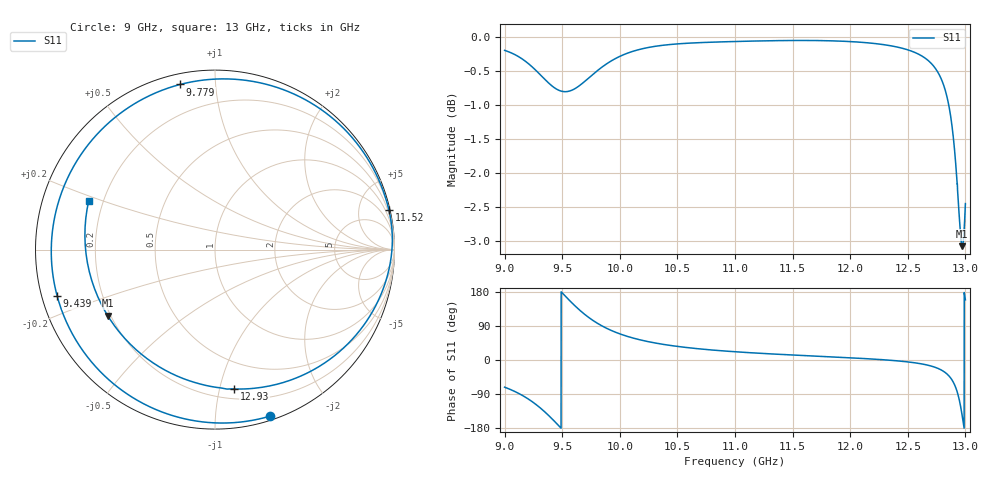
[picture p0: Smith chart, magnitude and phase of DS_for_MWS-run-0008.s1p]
! TOUCHSTONE file generated by CST DESIGN STUDIO
! Date and time: Tue Feb  4 17:43:54 2025
! Project name: C:\Work\MatlabApps\UnitCellOptimizationMatlab\CST\unitcell.cst
! Tree item: Tasks\Sweep1\SPara1\S-Parameters
! Header version: 2024
! Port assignment regex: !\s*Touchstone port\s*([0-9]+)\s*=\s*(CST MWS port|CST DES external port|CST DES block port)\s*(.+)\s* \(\"(.*)\"\)(\s*mode\s*([0-9]+))?.*
! Touchstone port assignment:
! Touchstone port 1 = CST DES external port 1 ("")
# GHz S MA R 50
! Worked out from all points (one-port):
!   4001 points, 9 GHz to 13 GHz, reference 50 ohm
!   lowest |S11| = -3.1 dB at 12.97 GHz (marker M1), VSWR 5.71, Z = 9.43 - j13.7 ohm
!   |S11| at or under -10 dB: nowhere
!   S11 on the Smith chart (normalised r, x): 9 GHz: 0.03, -1.38; 9.439 GHz: 0.04, -0.14; 9.779 GHz: 0.05, +0.81; 11.52 GHz: 0.25, +8.86; 12.93 GHz: 0.27, -1.11; 13 GHz: 0.14, +0.18
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9  0.9772 -71.7
9.144  0.9642 -91.7
9.249  0.9487 -112.0
9.342  0.9319 -135.0
9.439  0.9166 -163.6
9.5  0.9118 177.0
9.566  0.9124 156.3
9.643  0.9198 133.9
9.709  0.9294 117.1
9.779  0.9403 102.0
9.889  0.9557 83.1
10  0.9673 69.0
10.216  0.9808 50.4
10.5  0.988 35.9
11  0.992 21.8
11.5  0.9937 13.2
11.52  0.9937 12.9
12  0.9918 5.8
12.5  0.9781 -5.0
12.684  0.9594 -14.4
12.81  0.9221 -29.9
12.878  0.8674 -50.0
12.904  0.8293 -64.0
12.927  0.7838 -82.3
12.951  0.7291 -111.0
12.973  0.7021 -148.4
12.986  0.7145 -174.0
13  0.7544 158.8
